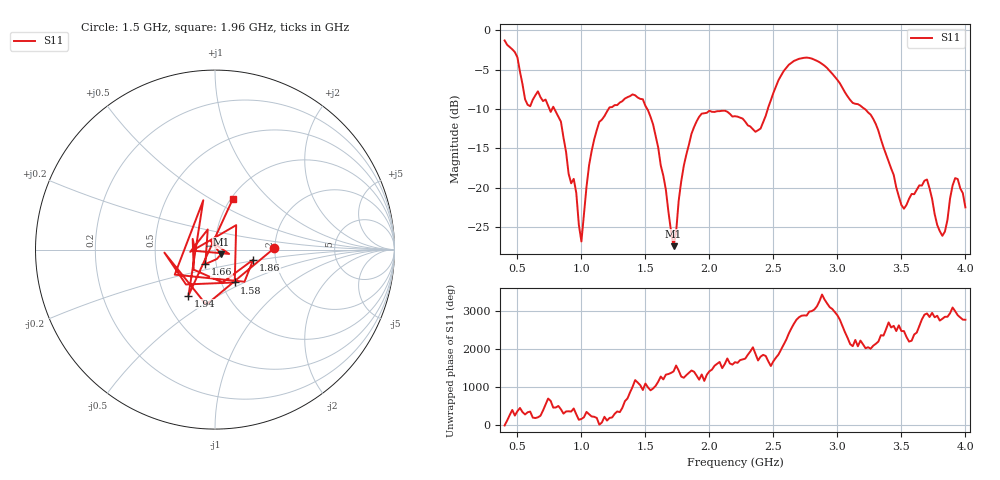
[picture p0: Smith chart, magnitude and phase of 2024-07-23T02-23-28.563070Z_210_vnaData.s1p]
!Created with skrf (http://scikit-rf.org).
# Hz S RI R 50.0
!freq ReS11 ImS11
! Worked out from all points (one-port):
!   181 points, 400 MHz to 4 GHz, reference 50 ohm
!   lowest |S11| = -27.4 dB at 1.72 GHz (marker M1), VSWR 1.09, Z = 53.4 - j2.82 ohm
!   |S11| at or under -10 dB: 789.5 MHz to 1.212 GHz (422 MHz wide, 42.2 % of centre); 1.515 GHz to 2.456 GHz (941 MHz wide, 47.4 % of centre); 3.215 GHz to end of sweep (the widest 3 of 4)
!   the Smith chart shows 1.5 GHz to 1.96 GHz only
!   S11 on the Smith chart (normalised r, x): 1.5 GHz: 1.99, +0.04; 1.58 GHz: 1.16, -0.44; 1.66 GHz: 0.89, -0.14; 1.86 GHz: 1.53, -0.18; 1.94 GHz: 0.66, -0.37; 1.96 GHz: 1.02, +0.63
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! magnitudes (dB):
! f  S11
! 400 MHz  -1.3
! 500 MHz  -3.4
! 580 MHz  -9.5
! 660 MHz  -7.7
! 860 MHz  -13.6
! 1 GHz  -26.8
! 1.06 GHz  -17.1
! 1.12 GHz  -12.7
! 1.3 GHz  -9.2
! 1.5 GHz  -9.6
! 1.58 GHz  -13.4
! 1.66 GHz  -20.3
! 1.72 GHz  -27.4
! 1.76 GHz  -21.7
! 1.86 GHz  -13.1
! 1.94 GHz  -10.6
! 1.96 GHz  -10.5
! 2.2 GHz  -10.9
! 2.4 GHz  -12.5
! 2.66 GHz  -3.9
! 3.1 GHz  -8.8
! 3.28 GHz  -11.2
! 3.5 GHz  -22.2
! 3.56 GHz  -21.4
! 3.7 GHz  -19.0
! 3.82 GHz  -26.1
! 3.92 GHz  -18.8
! 4 GHz  -22.5
